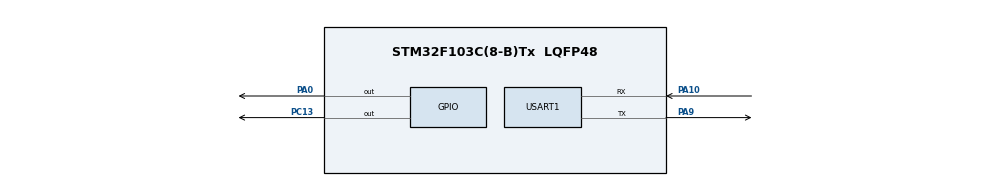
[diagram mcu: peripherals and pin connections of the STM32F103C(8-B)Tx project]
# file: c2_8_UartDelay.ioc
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Mcu.Family=STM32F1
Mcu.Name=STM32F103C(8-B)Tx
Mcu.Package=LQFP48
NVIC.PriorityGroup=NVIC_PRIORITYGROUP_4
NVIC.TIM4_IRQn=true\:15\:0\:false\:false\:true\:false\:true\:true
NVIC.TimeBase=TIM4_IRQn
NVIC.TimeBaseIP=TIM4
PA0-WKUP.Signal=GPIO_Output
PA10.Mode=Asynchronous
PA10.Signal=USART1_RX
PA9.Mode=Asynchronous
PA9.Signal=USART1_TX
PC13-TAMPER-RTC.Signal=GPIO_Output
ProjectManager.HeapSize=0x200
ProjectManager.StackSize=0x400
ProjectManager.TargetToolchain=STM32CubeIDE
RCC.APB1Freq_Value=8000000
RCC.APB2Freq_Value=8000000
USART1.VirtualMode=VM_ASYNC
VP_SYS_VS_ND.Mode=No_Debug
VP_SYS_VS_tim4.Mode=TIM4
board=custom

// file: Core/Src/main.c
/* USER CODE BEGIN Header */
/**
  ******************************************************************************
  * @file           : main.c
  * @brief          : Main program body
  ******************************************************************************
  * @attention
  *
  * Copyright (c) 2025 STMicroelectronics.
  * All rights reserved.
  *
  * This software is licensed under terms that can be found in the LICENSE file
  * in the root directory of this software component.
  * If no LICENSE file comes with this software, it is provided AS-IS.
  *
  ******************************************************************************
  */
/* USER CODE END Header */
#include "main.h"

/* USER CODE BEGIN Includes */
#include "FreeRTOS.h"
#include "task.h"
/* USER CODE END Includes */

UART_HandleTypeDef huart1;

void SystemClock_Config(void);
static void MX_GPIO_Init(void);
static void MX_USART1_UART_Init(void);
/* USER CODE BEGIN PFP */
void task1_handler (void* parameter);
//void task2_handler (void* parameter);
/* USER CODE END PFP */

int main(void)
{

  /* MCU Configuration--------------------------------------------------------*/

  /* Reset of all peripherals, Initializes the Flash interface and the Systick. */
  HAL_Init();

  /* Configure the system clock */
  SystemClock_Config();

  /* USER CODE BEGIN SysInit */
  BaseType_t status;
    TaskHandle_t task1_handle ; //,task2_handle;
  /* USER CODE END SysInit */

  /* Initialize all configured peripherals */
  MX_GPIO_Init();
  MX_USART1_UART_Init();
  /* USER CODE BEGIN 2 */
  status =xTaskCreate(task1_handler, "Task-1", 100, "Hi\n", 2, &task1_handle);
   configASSERT(status == pdPASS);
//   status =xTaskCreate(task2_handler, "Task-2", 100, "Hello\n", 3, &task2_handle);
//   configASSERT(status == pdPASS);
   vTaskStartScheduler();
  /* USER CODE END 2 */

  /* Infinite loop */
  while (1)
  {

  }
}

void SystemClock_Config(void)
{
  RCC_OscInitTypeDef RCC_OscInitStruct = {0};
  RCC_ClkInitTypeDef RCC_ClkInitStruct = {0};

  /** Initializes the RCC Oscillators according to the specified parameters
  * in the RCC_OscInitTypeDef structure.
  */
  RCC_OscInitStruct.OscillatorType = RCC_OSCILLATORTYPE_HSI;
  RCC_OscInitStruct.HSIState = RCC_HSI_ON;
  RCC_OscInitStruct.HSICalibrationValue = RCC_HSICALIBRATION_DEFAULT;
  RCC_OscInitStruct.PLL.PLLState = RCC_PLL_NONE;
  if (HAL_RCC_OscConfig(&RCC_OscInitStruct) != HAL_OK)
  {
    Error_Handler();
  }

  /** Initializes the CPU, AHB and APB buses clocks
  */
  RCC_ClkInitStruct.ClockType = RCC_CLOCKTYPE_HCLK|RCC_CLOCKTYPE_SYSCLK
                              |RCC_CLOCKTYPE_PCLK1|RCC_CLOCKTYPE_PCLK2;
  RCC_ClkInitStruct.SYSCLKSource = RCC_SYSCLKSOURCE_HSI;
  RCC_ClkInitStruct.AHBCLKDivider = RCC_SYSCLK_DIV1;
  RCC_ClkInitStruct.APB1CLKDivider = RCC_HCLK_DIV1;
  RCC_ClkInitStruct.APB2CLKDivider = RCC_HCLK_DIV1;

  if (HAL_RCC_ClockConfig(&RCC_ClkInitStruct, FLASH_LATENCY_0) != HAL_OK)
  {
    Error_Handler();
  }
}

static void MX_USART1_UART_Init(void)
{

  huart1.Instance = USART1;
  huart1.Init.BaudRate = 115200;
  huart1.Init.WordLength = UART_WORDLENGTH_8B;
  huart1.Init.StopBits = UART_STOPBITS_1;
  huart1.Init.Parity = UART_PARITY_NONE;
  huart1.Init.Mode = UART_MODE_TX_RX;
  huart1.Init.HwFlowCtl = UART_HWCONTROL_NONE;
  huart1.Init.OverSampling = UART_OVERSAMPLING_16;
  if (HAL_UART_Init(&huart1) != HAL_OK)
  {
    Error_Handler();
  }

}

static void MX_GPIO_Init(void)
{
  GPIO_InitTypeDef GPIO_InitStruct = {0};

  /* GPIO Ports Clock Enable */
  __HAL_RCC_GPIOC_CLK_ENABLE();
  __HAL_RCC_GPIOA_CLK_ENABLE();

  /*Configure GPIO pin Output Level */
  HAL_GPIO_WritePin(GPIOC, GPIO_PIN_13, GPIO_PIN_RESET);

  /*Configure GPIO pin Output Level */
  HAL_GPIO_WritePin(GPIOA, GPIO_PIN_0, GPIO_PIN_RESET);

  /*Configure GPIO pin : PC13 */
  GPIO_InitStruct.Pin = GPIO_PIN_13;
  GPIO_InitStruct.Mode = GPIO_MODE_OUTPUT_PP;
  GPIO_InitStruct.Pull = GPIO_NOPULL;
  GPIO_InitStruct.Speed = GPIO_SPEED_FREQ_LOW;
  HAL_GPIO_Init(GPIOC, &GPIO_InitStruct);

  /*Configure GPIO pin : PA0 */
  GPIO_InitStruct.Pin = GPIO_PIN_0;
  GPIO_InitStruct.Mode = GPIO_MODE_OUTPUT_PP;
  GPIO_InitStruct.Pull = GPIO_NOPULL;
  GPIO_InitStruct.Speed = GPIO_SPEED_FREQ_LOW;
  HAL_GPIO_Init(GPIOA, &GPIO_InitStruct);

}

/* USER CODE BEGIN 4 */
void task1_handler (void* parameter){
	int i,j =0;
	const TickType_t xFrequency = 1000;  // 1000 ticks = 100ms = 1 sec
	TickType_t xLastWakeTime ;
	BaseType_t xWasDelayed ;
	xLastWakeTime = xTaskGetTickCount ();

	for(;;){

		HAL_UART_Transmit(&huart1,parameter , 3, 1000);
		for(i=0;i<5;i++)
			for(j=0;j<10000;j++);
//		vTaskDelay(pdMS_TO_TICKS(1000));
		xWasDelayed = xTaskDelayUntil(&xLastWakeTime,xFrequency);
	}

}
//void task2_handler (void* parameter){
//	for(;;){
////		BaseType_t xWasDelayed;
////				xLastWakeTime = xTaskGetTickCount ();
////				const TickType_t xFrequency = 1000;
//
//		HAL_UART_Transmit(&huart1,parameter , 6, 1000);
//		vTaskDelay(pdMS_TO_TICKS(1000));
////		vTaskDelayUntil(&xLastWakeTime,xFrequency);
//	}
//
//}
/* USER CODE END 4 */

void HAL_TIM_PeriodElapsedCallback(TIM_HandleTypeDef *htim)
{
  if (htim->Instance == TIM4)
  {
    HAL_IncTick();
  }
}

void Error_Handler(void)
{
  __disable_irq();
  while (1)
  {
  }
}
